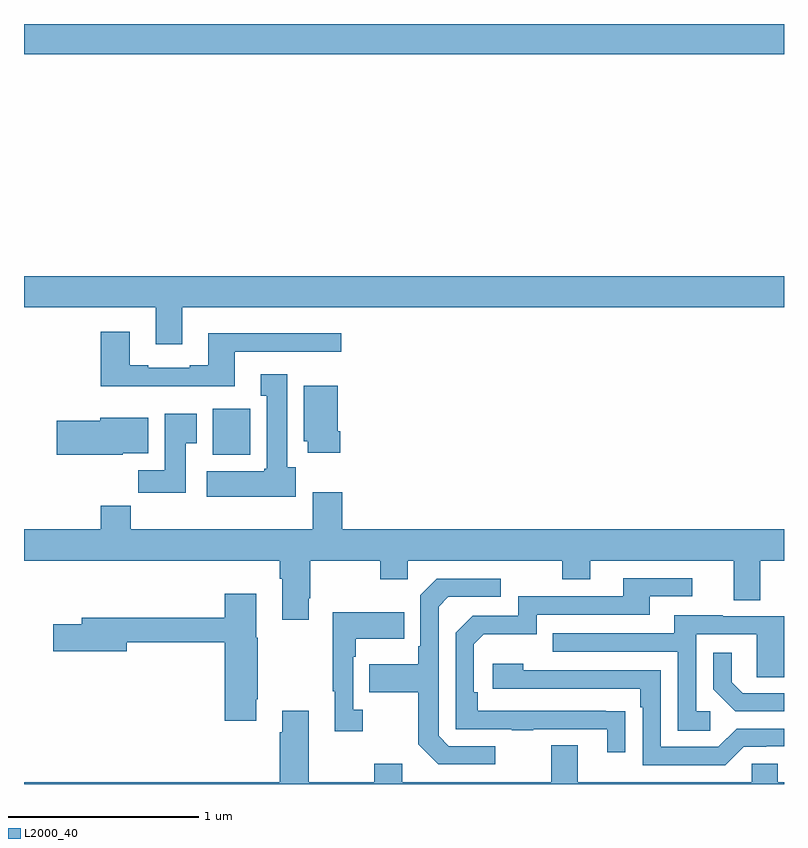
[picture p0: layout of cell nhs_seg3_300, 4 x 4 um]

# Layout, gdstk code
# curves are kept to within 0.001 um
import gdstk
lib = gdstk.Library(unit=1e-6, precision=1e-09)
def R(c, l, rs):  # rectangles x0, y0, x1, y1
    for r in rs: c.add(gdstk.rectangle(r[:2], r[2:], *l))
def P(c, l, *ps):  # polygons
    for p in ps: c.add(gdstk.Polygon(p, *l))
L2000_40 = (2000, 40)

nhs_seg3_300 = lib.new_cell('nhs_seg3_300')
R(nhs_seg3_300, L2000_40, [(125.993,708.134,126.19,708.376), (125,710.24,129,710.4)])
P(nhs_seg3_300, L2000_40, [(125.833,708.908),(129,708.908),(129,709.072),(125,709.072),(125,708.908),(125.693,708.908),(125.693,708.714),(125.833,708.714)],
  [(126.109,708.675),(126.67,708.675),(126.67,708.772),(125.969,708.772),(125.969,708.604),(125.873,708.604),(125.873,708.591),(125.653,708.591),(125.653,708.604),(125.557,708.604),(125.557,708.781),(125.405,708.781),(125.405,708.494),(126.109,708.494)],
  [(126.43,708.066),(126.385,708.066),(126.385,708.556),(126.245,708.556),(126.245,708.443),(126.278,708.443),(126.278,708.06),(126.265,708.06),(126.265,708.046),(125.961,708.046),(125.961,707.912),(126.43,707.912)],
  [(126.665,708.256),(126.652,708.256),(126.652,708.496),(126.473,708.496),(126.473,708.204),(126.494,708.204),(126.494,708.144),(126.665,708.144)],
  [(125.851,708.193),(125.908,708.193),(125.908,708.349),(125.741,708.349),(125.741,708.052),(125.602,708.052),(125.602,707.934),(125.851,707.934)],
  [(125.52,708.14),(125.653,708.14),(125.653,708.328),(125.402,708.328),(125.402,708.311),(125.172,708.311),(125.172,708.134),(125.52,708.134)],
  [(126.499,707.377),(126.507,707.377),(126.507,707.576),(126.874,707.576),(126.874,707.477),(127.02,707.477),(127.02,707.576),(127.834,707.576),(127.834,707.477),(127.981,707.477),(127.981,707.576),(128.735,707.576),(128.735,707.368),(128.875,707.368),(128.875,707.576),(129,707.576),(129,707.74),(126.674,707.74),(126.674,707.935),(126.521,707.935),(126.521,707.74),(125.561,707.74),(125.561,707.864),(125.405,707.864),(125.405,707.74),(125,707.74),(125,707.576),(126.347,707.576),(126.347,707.48),(126.359,707.48),(126.359,707.265),(126.499,707.265)],
  [(128.165,706.784),(127.388,706.785),(127.388,706.882),(127.368,706.882),(127.368,707.136),(127.421,707.189),(127.698,707.189),(127.698,707.292),(128.293,707.292),(128.293,707.388),(128.518,707.388),(128.518,707.484),(128.153,707.484),(128.153,707.388),(127.602,707.388),(127.602,707.286),(127.362,707.286),(127.272,707.196),(127.272,706.689),(127.567,706.689),(127.567,706.684),(127.679,706.684),(127.679,706.689),(128.069,706.689),(128.069,706.566),(128.165,706.566)],
  [(127.48,706.599),(127.236,706.599),(127.182,706.653),(127.182,707.334),(127.233,707.385),(127.51,707.385),(127.51,707.481),(127.173,707.481),(127.086,707.394),(127.086,707.125),(127.074,707.125),(127.074,707.029),(126.817,707.029),(126.817,706.882),(127.074,706.882),(127.074,706.609),(127.179,706.503),(127.48,706.503)],
  [(126.223,706.846),(126.231,706.846),(126.231,707.169),(126.223,707.169),(126.223,707.401),(126.056,707.401),(126.056,707.275),(125.303,707.275),(125.303,707.241),(125.154,707.241),(125.154,707.099),(125.542,707.099),(125.542,707.146),(126.056,707.146),(126.056,706.734),(126.223,706.734)],
  [(126.784,706.79),(126.732,706.79),(126.732,707.069),(126.745,707.069),(126.745,707.165),(127.001,707.165),(127.001,707.305),(126.624,707.305),(126.624,706.889),(126.635,706.889),(126.635,706.677),(126.784,706.677)],
  [(128.611,706.782),(128.538,706.782),(128.538,707.187),(128.856,707.187),(128.856,706.963),(129,706.963),(129,707.283),(128.677,707.283),(128.677,707.287),(128.423,707.287),(128.423,707.193),(127.783,707.193),(127.783,707.097),(128.442,707.097),(128.442,706.681),(128.611,706.681)],
  [(129,706.878),(128.782,706.878),(128.725,706.935),(128.725,707.092),(128.628,707.092),(128.628,706.898),(128.744,706.782),(129,706.782)],
  [(128.787,706.596),(128.906,706.596),(128.906,706.599),(129,706.599),(129,706.692),(128.751,706.692),(128.655,706.596),(128.352,706.596),(128.352,706.998),(127.628,706.998),(127.628,707.032),(127.467,707.032),(127.467,706.902),(128.243,706.902),(128.243,706.805),(128.256,706.805),(128.256,706.5),(128.691,706.5)],
  [(129,706.408),(128.967,706.408),(128.967,706.506),(128.829,706.506),(128.829,706.408),(127.915,706.408),(127.915,706.603),(127.775,706.603),(127.775,706.408),(126.991,706.408),(126.991,706.507),(126.844,706.507),(126.844,706.408),(126.499,706.408),(126.499,706.786),(126.359,706.786),(126.359,706.673),(126.347,706.673),(126.347,706.408),(125,706.408),(125,706.4),(129,706.4)])

lib.write_gds('nhs_seg3_300.gds')
